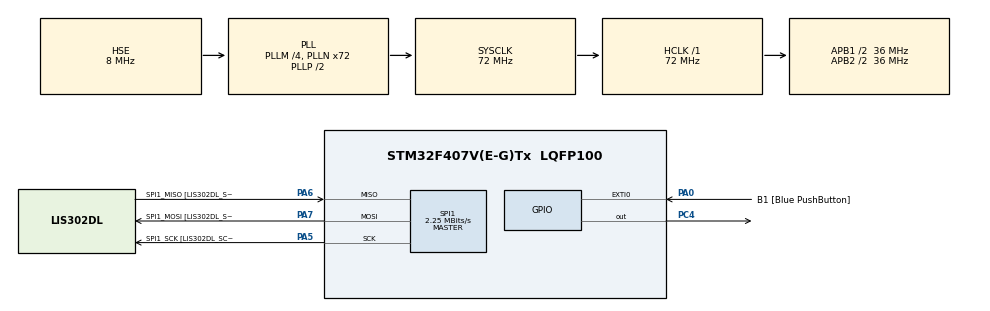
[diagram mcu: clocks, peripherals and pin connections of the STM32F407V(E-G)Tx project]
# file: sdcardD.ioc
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FATFS._MAX_SS=4096
FATFS._USE_LFN=1
Mcu.Family=STM32F4
Mcu.Name=STM32F407V(E-G)Tx
Mcu.Package=LQFP100
NVIC.PriorityGroup=NVIC_PRIORITYGROUP_0
PA0-WKUP.GPIO_Label=B1 [Blue PushButton]
PA0-WKUP.GPIO_ModeDefaultEXTI=GPIO_MODE_EVT_RISING
PA0-WKUP.GPIO_PuPd=GPIO_NOPULL
PA0-WKUP.Signal=GPXTI0
PA13.Mode=Serial_Wire
PA13.Signal=SYS_JTMS-SWDIO
PA14.GPIO_Label=SWCLK
PA14.Mode=Serial_Wire
PA14.Signal=SYS_JTCK-SWCLK
PA5.GPIO_Label=SPI1_SCK [LIS302DL_SCL/SPC]
PA5.GPIO_Mode=GPIO_MODE_AF_PP
PA5.GPIO_PuPd=GPIO_NOPULL
PA5.GPIO_Speed=GPIO_SPEED_FREQ_LOW
PA5.Mode=Full_Duplex_Master
PA5.Signal=SPI1_SCK
PA6.GPIO_Label=SPI1_MISO [LIS302DL_SDO]
PA6.GPIO_Mode=GPIO_MODE_AF_PP
PA6.GPIO_PuPd=GPIO_NOPULL
PA6.GPIO_Speed=GPIO_SPEED_FREQ_LOW
PA6.Mode=Full_Duplex_Master
PA6.Signal=SPI1_MISO
PA7.GPIO_Label=SPI1_MOSI [LIS302DL_SDA/SDI/SDO]
PA7.GPIO_Mode=GPIO_MODE_AF_PP
PA7.GPIO_PuPd=GPIO_NOPULL
PA7.GPIO_Speed=GPIO_SPEED_FREQ_LOW
PA7.Mode=Full_Duplex_Master
PA7.Signal=SPI1_MOSI
PC4.GPIO_Speed=GPIO_SPEED_FREQ_MEDIUM
PC4.PinState=GPIO_PIN_SET
PC4.Signal=GPIO_Output
ProjectManager.HeapSize=0x200
ProjectManager.StackSize=0x400
ProjectManager.TargetToolchain=STM32CubeIDE
RCC.48MHZClocksFreq_Value=48000000
RCC.AHBFreq_Value=72000000
RCC.APB1CLKDivider=RCC_HCLK_DIV2
RCC.APB1Freq_Value=36000000
RCC.APB1TimFreq_Value=72000000
RCC.APB2CLKDivider=RCC_HCLK_DIV2
RCC.APB2Freq_Value=36000000
RCC.APB2TimFreq_Value=72000000
RCC.CortexFreq_Value=72000000
RCC.HCLKFreq_Value=72000000
RCC.HSE_VALUE=8000000
RCC.HSI_VALUE=16000000
RCC.LSE_VALUE=32768
RCC.PLLI2SN=50
RCC.PLLM=8
RCC.PLLN=72
RCC.PLLQ=3
RCC.SYSCLKFreq_VALUE=72000000
RCC.SYSCLKSource=RCC_SYSCLKSOURCE_PLLCLK
RCC.VCOOutputFreq_Value=144000000
SPI1.BaudRatePrescaler=SPI_BAUDRATEPRESCALER_16
SPI1.BaudRatePrescaler-Full_Duplex_Master=SPI_BAUDRATEPRESCALER_2
SPI1.CalculateBaudRate=2.25 MBits/s
SPI1.CalculateBaudRate-Full_Duplex_Master=42.0 MBits/s
SPI1.Direction=SPI_DIRECTION_2LINES
SPI1.Mode=SPI_MODE_MASTER
SPI1.Mode-Full_Duplex_Master=SPI_MODE_MASTER
SPI1.VirtualType=VM_MASTER
VP_FATFS_VS_Generic.Mode=User_defined
board=STM32F407G-DISC1

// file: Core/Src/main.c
/* USER CODE BEGIN Header */
/**
  ******************************************************************************
  * @file           : main.c
  * @brief          : Main program body
  ******************************************************************************
  * @attention
  *
  * Copyright (c) 2025 STMicroelectronics.
  * All rights reserved.
  *
  * This software is licensed under terms that can be found in the LICENSE file
  * in the root directory of this software component.
  * If no LICENSE file comes with this software, it is provided AS-IS.
  *
  ******************************************************************************
  */
/* USER CODE END Header */
#include "main.h"
#include "fatfs.h"

/* USER CODE BEGIN Includes */
#include "string.h"
#include "fatfs_sd.h"
#include <stdio.h>
/* USER CODE END Includes */

/* USER CODE BEGIN PTD */
FATFS fs;
FIL fil;
FRESULT fresult;
char buffer[1024];

UINT br,bw;

FATFS *pfs;
DWORD fre_clust;
uint32_t total,free_space;

//void send_uart(char *string){
//	uint8_t len=strlen(string);
//	HAL_UART_Transmit(&huart1,(uint8_t*)string,len,2000);
//}

int bufsize(char *buf){
	int i=0;
	while(*buf++!='\0') i++;
	return i;
}

void bufclear(void){
	for(int i=0;i<1024;i++){
		buffer[i]='\0';
	}
}
/* USER CODE END PTD */

//I2S_HandleTypeDef hi2s3;

SPI_HandleTypeDef hspi1;

//UART_HandleTypeDef huart1;

void SystemClock_Config(void);
static void MX_GPIO_Init(void);
//static void MX_I2S3_Init(void);
static void MX_SPI1_Init(void);
//static void MX_USART1_UART_Init(void);
void MX_USB_HOST_Process(void);

void spi_send_dummy_clock() {
    uint8_t dummy = 0xFF;
    for (int i = 0; i < 10; i++) {
        HAL_SPI_Transmit(&hspi1, &dummy, 1, 100);
    }
}

uint8_t send_cmd(uint8_t cmd, uint32_t arg) {
    uint8_t response;
    HAL_SPI_Transmit(&hspi1, &cmd, 1, 100);
    HAL_SPI_Receive(&hspi1, &response, 1, 100);
    HAL_SPI_Receive(&hspi1, &response, 1, 100);
    return response;
}

void test_sd_card() {
    uint8_t cmd = 0x40; // CMD0 (GO_IDLE_STATE)
    uint8_t response;

    printf("Sending dummy clocks...\n");
    spi_send_dummy_clock();  // Ensure SD card is in SPI mode

    printf("Sending CMD0...\n");
    HAL_SPI_Transmit(&hspi1, &cmd, 1, 100);
    HAL_SPI_Receive(&hspi1, &response, 1,HAL_MAX_DELAY);

    if (response == 0x01) {
        printf("SD Card is responding!\n");
    } else {
        printf("No response from SD Card! Check SPI connection.\n");
    }
}

int main(void)
{

  /* MCU Configuration--------------------------------------------------------*/

  /* Reset of all peripherals, Initializes the Flash interface and the Systick. */
  HAL_Init();

  /* Configure the system clock */
  SystemClock_Config();

  /* Initialize all configured peripherals */
  MX_GPIO_Init();
  //MX_I2S3_Init();
  MX_SPI1_Init();
  //MX_USB_HOST_Init();
  //MX_USART1_UART_Init();
  MX_FATFS_Init();
  /* USER CODE BEGIN 2 */
  HAL_Delay (500);
   //test_sd_card();
  fresult = f_mount(&fs, "/", 1);
  	if (fresult != FR_OK) printf("ERROR!!! in mounting SD CARD...\n\n");
  	else printf("SD CARD mounted successfully...\n\n");

  	/*************** Card capacity details ********************/

  	/* Check free space */
  	f_getfree("", &fre_clust, &pfs);

  	total = (uint32_t)((pfs->n_fatent - 2) * pfs->csize * 0.5);
  	sprintf (buffer, "SD CARD Total Size: \t%lu\n",total);
  	printf(buffer);
  	bufclear();
  	free_space = (uint32_t)(fre_clust * pfs->csize * 0.5);
  	sprintf (buffer, "SD CARD Free Space: \t%lu\n\n",free_space);
  	printf(buffer);
  	bufclear();

  	/************* The following operation is using PUTS and GETS *********************/

  	/* Open file to write/ create a file if it doesn't exist */
      fresult = f_open(&fil, "file1.txt", FA_OPEN_ALWAYS | FA_READ | FA_WRITE);

  	/* Writing text */
  	f_puts("This text is written with the help of the stm-32\n", &fil);

  	/* Close file */
  	fresult = f_close(&fil);

  	if (fresult == FR_OK)printf ("File1.txt created and the data is written \n");

  	/* Open file to read */
  	fresult = f_open(&fil, "file1.txt", FA_READ);

  	/* Read string from the file */
  	f_gets(buffer, f_size(&fil), &fil);

  	printf("File1.txt is opened and it contains the data as shown below\n");
  	printf(buffer);
  	printf("\n\n");

  	/* Close file */
  	f_close(&fil);

  	bufclear();
  /* Infinite loop */
  while (1)
  {
    //MX_USB_HOST_Process();

  }
}

void SystemClock_Config(void)
{
  RCC_OscInitTypeDef RCC_OscInitStruct = {0};
  RCC_ClkInitTypeDef RCC_ClkInitStruct = {0};

  /** Configure the main internal regulator output voltage
  */
  __HAL_RCC_PWR_CLK_ENABLE();
  __HAL_PWR_VOLTAGESCALING_CONFIG(PWR_REGULATOR_VOLTAGE_SCALE1);

  /** Initializes the RCC Oscillators according to the specified parameters
  * in the RCC_OscInitTypeDef structure.
  */
  RCC_OscInitStruct.OscillatorType = RCC_OSCILLATORTYPE_HSE;
  RCC_OscInitStruct.HSEState = RCC_HSE_ON;
  RCC_OscInitStruct.PLL.PLLState = RCC_PLL_ON;
  RCC_OscInitStruct.PLL.PLLSource = RCC_PLLSOURCE_HSE;
  RCC_OscInitStruct.PLL.PLLM = 4;
  RCC_OscInitStruct.PLL.PLLN = 72;
  RCC_OscInitStruct.PLL.PLLP = RCC_PLLP_DIV2;
  RCC_OscInitStruct.PLL.PLLQ = 3;
  if (HAL_RCC_OscConfig(&RCC_OscInitStruct) != HAL_OK)
  {
    Error_Handler();
  }

  /** Initializes the CPU, AHB and APB buses clocks
  */
  RCC_ClkInitStruct.ClockType = RCC_CLOCKTYPE_HCLK|RCC_CLOCKTYPE_SYSCLK
                              |RCC_CLOCKTYPE_PCLK1|RCC_CLOCKTYPE_PCLK2;
  RCC_ClkInitStruct.SYSCLKSource = RCC_SYSCLKSOURCE_PLLCLK;
  RCC_ClkInitStruct.AHBCLKDivider = RCC_SYSCLK_DIV1;
  RCC_ClkInitStruct.APB1CLKDivider = RCC_HCLK_DIV2;
  RCC_ClkInitStruct.APB2CLKDivider = RCC_HCLK_DIV2;

  if (HAL_RCC_ClockConfig(&RCC_ClkInitStruct, FLASH_LATENCY_2) != HAL_OK)
  {
    Error_Handler();
  }
}

static void MX_SPI1_Init(void)
{

  /* SPI1 parameter configuration*/
  hspi1.Instance = SPI1;
  hspi1.Init.Mode = SPI_MODE_MASTER;
  hspi1.Init.Direction = SPI_DIRECTION_2LINES;
  hspi1.Init.DataSize = SPI_DATASIZE_8BIT;
  hspi1.Init.CLKPolarity = SPI_POLARITY_LOW;
  hspi1.Init.CLKPhase = SPI_PHASE_1EDGE;
  hspi1.Init.NSS = SPI_NSS_SOFT;
  hspi1.Init.BaudRatePrescaler = SPI_BAUDRATEPRESCALER_16;
  hspi1.Init.FirstBit = SPI_FIRSTBIT_MSB;
  hspi1.Init.TIMode = SPI_TIMODE_DISABLE;
  hspi1.Init.CRCCalculation = SPI_CRCCALCULATION_DISABLE;
  hspi1.Init.CRCPolynomial = 10;
  if (HAL_SPI_Init(&hspi1) != HAL_OK)
  {
    Error_Handler();
  }

}

//static void MX_USART1_UART_Init(void)
//{
//
//  /* USER CODE BEGIN USART1_Init 0 */
//
//  /* USER CODE END USART1_Init 0 */
//
//  /* USER CODE BEGIN USART1_Init 1 */
//
//  /* USER CODE END USART1_Init 1 */
//  huart1.Instance = USART1;
//  huart1.Init.BaudRate = 115200;
//  huart1.Init.WordLength = UART_WORDLENGTH_8B;
//  huart1.Init.StopBits = UART_STOPBITS_1;
//  huart1.Init.Parity = UART_PARITY_NONE;
//  huart1.Init.Mode = UART_MODE_TX_RX;
//  huart1.Init.HwFlowCtl = UART_HWCONTROL_NONE;
//  huart1.Init.OverSampling = UART_OVERSAMPLING_16;
//  if (HAL_UART_Init(&huart1) != HAL_OK)
//  {
//    Error_Handler();
//  }
//  /* USER CODE BEGIN USART1_Init 2 */
//
//  /* USER CODE END USART1_Init 2 */
//
//}

static void MX_GPIO_Init(void)
{
  GPIO_InitTypeDef GPIO_InitStruct = {0};

  /* GPIO Ports Clock Enable */
  __HAL_RCC_GPIOA_CLK_ENABLE();
  __HAL_RCC_GPIOC_CLK_ENABLE();

  /*Configure GPIO pin Output Level */
  HAL_GPIO_WritePin(GPIOC, GPIO_PIN_4, GPIO_PIN_SET);

  /*Configure GPIO pin : B1_Pin */
  GPIO_InitStruct.Pin = B1_Pin;
  GPIO_InitStruct.Mode = GPIO_MODE_EVT_RISING;
  GPIO_InitStruct.Pull = GPIO_NOPULL;
  HAL_GPIO_Init(B1_GPIO_Port, &GPIO_InitStruct);

  /*Configure GPIO pin : PC4 */
  GPIO_InitStruct.Pin = GPIO_PIN_4;
  GPIO_InitStruct.Mode = GPIO_MODE_OUTPUT_PP;
  GPIO_InitStruct.Pull = GPIO_NOPULL;
  GPIO_InitStruct.Speed = GPIO_SPEED_FREQ_MEDIUM;
  HAL_GPIO_Init(GPIOC, &GPIO_InitStruct);

}/* USER CODE BEGIN 4 */

/* USER CODE END 4 */

void Error_Handler(void)
{
  __disable_irq();
  while (1)
  {
  }
}
